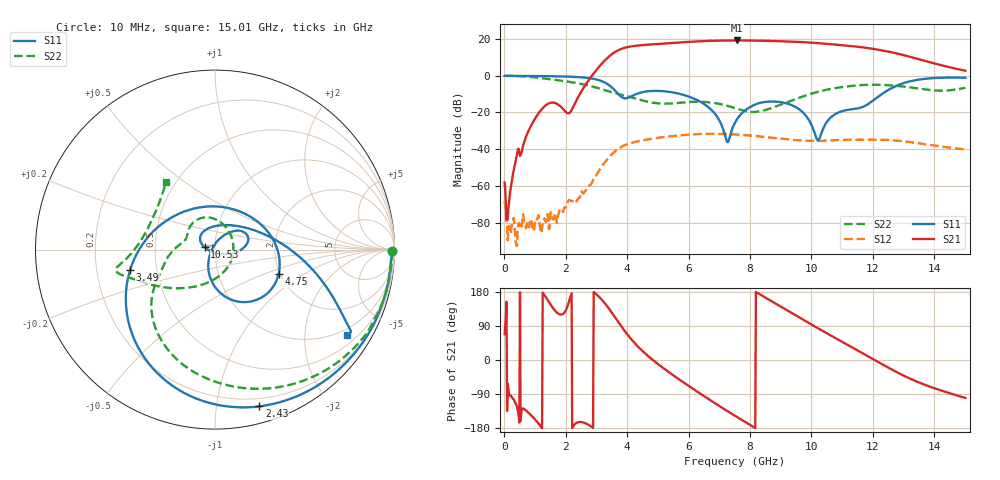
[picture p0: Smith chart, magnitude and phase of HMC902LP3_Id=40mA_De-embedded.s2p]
! Hittite Microwave Corporation
! 20 Alpha Road
! Chelmsford, MA 01824
! http://www.hittite.com
! Tel: 978-250-3343
! Fax: 978-250-3373
! Device:  HMC902LP3E
! Description: GaAs pHEMT MMIC Low Noise Amplifier
! Frequency:  5.00 -  10.00 GHz
! Package:  LP3  - 3x3 mm Quad Flatpack No-Lead (QFN) Plastic Package: 16 pin
! Ports:  2 RF, 4 DC
!  Pin  3 = RF In  = Port 1
!  Pin  5 = Vgg1 (Optional)
!  Pin  6 = Vgg2 (Optional)
!  Pin 10 = RF Out  = Port 2
!  Pin 14 = Vdd2
!  Pin 15 = Vdd1
! Voltages:  Vdd  = Vdd1 = Vdd2 = +3.50  Volts
!  Idd  = Idd1 + Idd2 = 87.49  mA
!  Vgg  = Vgg1 = Vgg2 = -0.46  Volts
!  Igg  = Igg1 + Igg2 = -0.12  mA
! Data:  The device was measured on evaluation board 128395.
!  Data was collected using a calibrated network analyzer.
!  The evaluation circuit board was modeled and simulated.  This was use
!  to removed the evaluation board circuit from the measured data.
!  The reference plane is the edge of the package pin.
! Misc:
! Date Measured:  2010-08-30
! Date:  2010-09-07 MJV
! Note:
!  Hittite supplies this data as a sample of measured data at the package pin for
!  for this package product.  Your particular data for this product may vary.
!  Data was taken at 25 degrees C.
!  Hittite reserves the right to change this data at anytime.
# GHz S MA R 50
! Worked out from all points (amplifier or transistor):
!   751 points, 10 MHz to 15.01 GHz, reference 50 ohm
!   highest |S21| = 19.1 dB at 7.57 GHz (marker M1)
!   |S21| within 3 dB of that: 4.226 GHz to 11.27 GHz (7.041 GHz wide, 90.9 % of centre)
!   unconditionally stable (mu >= 1): start of sweep to end of sweep
!   at 2.51 GHz: K = 237.60, MAG = 0.4 dB, |S12| = -62.9 dB
!   at 7.51 GHz: K = 2.28, MAG = 19.2 dB, |S12| = -32.0 dB
!   at 15.01 GHz: K = 6.69, MAG = 10.2 dB, |S12| = -40.3 dB
!   S11 on the Smith chart (normalised r, x): 10 MHz: open; 2.43 GHz: 0.13, -1.31; 3.49 GHz: 0.35, -0.10; 4.75 GHz: 1.96, -0.63; 10.53 GHz: 0.89, +0.02; 15.01 GHz: 0.79, -3.19
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0.01  0.9865 -0.4  0.00123 68.2  0.0003916 -125.3  0.9865 -0.6
1.15  0.9741 -29.7  0.1031 -171.1  8.719e-05 28.2  0.8654 -60.0
2.43  0.9077 -74.2  0.2853 -163.9  0.0004695 -101.5  0.6096 -116.4
2.51  0.8977 -78.1  0.3719 -163.8  0.0007131 -109.4  0.5918 -119.7
3.07  0.7568 -115.5  1.68 168.0  0.002449 -89.6  0.4535 -141.3
3.49  0.4861 -166.6  3.761 126.2  0.007053 -119.3  0.355 -153.4
4.01  0.2453 66.9  5.974 66.9  0.01355 -171.2  0.2755 -168.8
4.75  0.3796 -21.2  7.01 5.7  0.01883 136.2  0.1883 168.9
5.01  0.3835 -35.3  7.269 -11.2  0.02034 122.2  0.1755 163.0
5.61  0.3326 -61.7  7.894 -46.6  0.02319 92.9  0.179 148.1
6.33  0.2051 -90.6  8.572 -86.2  0.0256 60.7  0.1943 122.2
6.89  0.08447 -116.1  8.903 -115.7  0.02597 37.3  0.1771 96.1
7.51  0.05227 72.0  9.037 -147.2  0.025 13.5  0.1306 56.2
7.57  0.06381 67.3  9.042 -150.2  0.0249 11.4  0.1263 51.1
8.61  0.1958 25.0  8.819 159.4  0.02074 -20.1  0.1235 -58.1
9.37  0.1558 2.5  8.414 123.5  0.01798 -36.0  0.2128 -111.8
10.01  0.04372 -33.7  7.867 93.1  0.01688 -44.0  0.3251 -138.8
10.53  0.05908 167.8  7.261 69.1  0.01714 -51.8  0.4186 -152.9
11.51  0.1281 95.3  6.093 24.7  0.01805 -72.6  0.5433 -165.2
12.51  0.4116 0.9  4.489 -20.6  0.01768 -98.5  0.5476 -170.3
13.71  0.8205 -28.2  2.49 -66.0  0.01341 -129.9  0.4184 173.6
15.01  0.8738 -33.0  1.357 -100.1  0.009645 -154.5  0.4651 126.3
